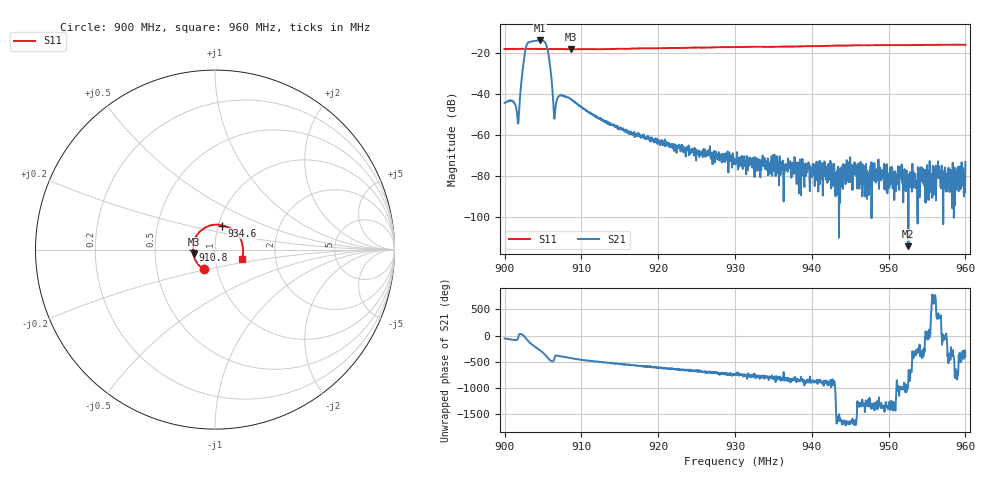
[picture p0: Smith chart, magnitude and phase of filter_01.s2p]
!Agilent Technologies,E5071C,MY46214392,A.11.36
!Date: Thu Feb 26 21:09:44 2026
!Data & Calibration Information:
!Freq	S11:NONE(--)	S21:NONE(--)	S12:NONE(--)	S22:NONE(--)
!PortZ  Port1:50+j0  Port2:50+j0
!Above PortZ is port z conversion or system Z0 setting when saving the data.
!When reading, reference impedance value at option line is always used.
# Hz S dB R 50
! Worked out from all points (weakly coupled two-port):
!   1601 points, 900 MHz to 960 MHz, reference 50 ohm
!   highest |S21| = -13.96 dB at 904.6 MHz (marker M1); lowest = -114.0 dB at 952.6 MHz (marker M2)
!   lowest |S11| = -18.2 dB at 908.7 MHz (marker M3), VSWR 1.28, Z = 39.3 - j2.13 ohm
!   |S11| at or under -10 dB: start of sweep to end of sweep
!   S12 and S22 are empty: the file has one direction only
!   S11 on the Smith chart (normalised r, x): 900 MHz: 0.86, -0.19; 910.8 MHz: 0.78, -0.00; 934.6 MHz: 1.04, +0.29; 960 MHz: 1.34, -0.15
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9e8  -18.12 -120.4  -44.31 -53.7  -200.00 0.0  -200.00 0.0
9.0105e8  -18.09 -125.9  -43.44 -79.1  -200.00 0.0  -200.00 0.0
9.016875e8  -18.07 -129.3  -51.96 -68.5  -200.00 0.0  -200.00 0.0
9.0195e8  -18.07 -130.7  -44.53 30.8  -200.00 0.0  -200.00 0.0
9.025125e8  -18.04 -134.0  -23.47 -5.8  -200.00 0.0  -200.00 0.0
9.028875e8  -18.07 -136.3  -15.98 -72.8  -200.00 0.0  -200.00 0.0
9.03675e8  -18.07 -140.6  -14.36 179.1  -200.00 0.0  -200.00 0.0
9.04575e8  -18.11 -145.6  -13.96 85.4  -200.00 0.0  -200.00 0.0
9.0555e8  -18.12 -150.8  -17.70 -52.2  -200.00 0.0  -200.00 0.0
9.06525e8  -18.16 -156.1  -50.63 -40.8  -200.00 0.0  -200.00 0.0
9.07275e8  -18.16 -160.0  -40.57 -33.4  -200.00 0.0  -200.00 0.0
9.086625e8  -18.24 -167.4  -42.55 -70.2  -200.00 0.0  -200.00 0.0
9.100125e8  -18.21 -174.3  -46.30 -100.3  -200.00 0.0  -200.00 0.0
9.108375e8  -18.17 -178.6  -48.47 -116.2  -200.00 0.0  -200.00 0.0
9.20025e8  -17.77 136.3  -63.76 113.1  -200.00 0.0  -200.00 0.0
9.3e8  -17.17 92.1  -72.83 -29.9  -200.00 0.0  -200.00 0.0
9.346125e8  -17.09 73.7  -77.12 -79.5  -200.00 0.0  -200.00 0.0
9.400125e8  -16.73 54.3  -77.07 -130.9  -200.00 0.0  -200.00 0.0
9.50025e8  -16.21 17.4  -80.38 85.3  -200.00 0.0  -200.00 0.0
9.52575e8  -16.25 8.4  -113.96 -100.3  -200.00 0.0  -200.00 0.0
9.59025e8  -16.04 -15.8  -76.16 -30.7  -200.00 0.0  -200.00 0.0
9.6e8  -16.06 -19.6  -73.06 -39.6  -200.00 0.0  -200.00 0.0
